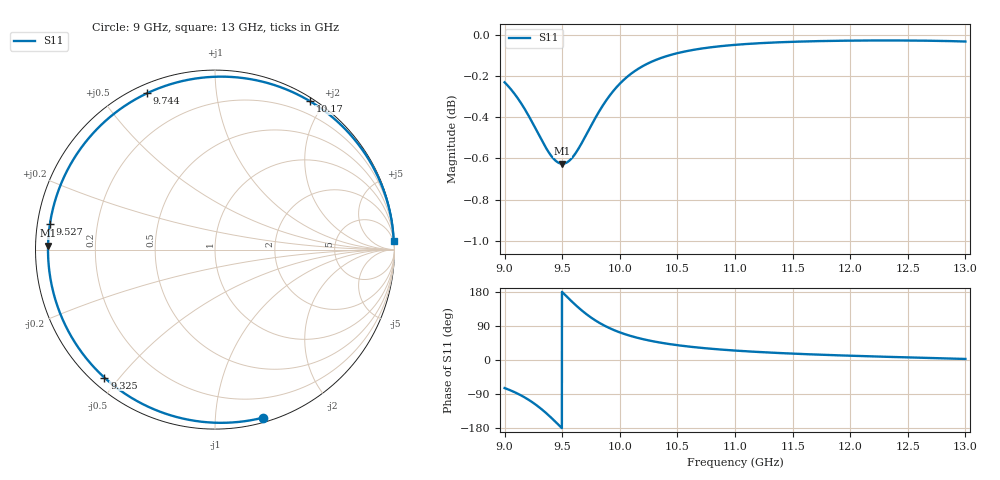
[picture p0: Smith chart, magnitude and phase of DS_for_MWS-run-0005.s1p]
! TOUCHSTONE file generated by CST DESIGN STUDIO
! Date and time: Tue Feb  4 12:53:52 2025
! Project name: C:\Work\MatlabApps\UnitCellOptimizationMatlab\CST\unitcell.cst
! Tree item: Tasks\Sweep1\SPara1\S-Parameters
! Header version: 2024
! Port assignment regex: !\s*Touchstone port\s*([0-9]+)\s*=\s*(CST MWS port|CST DES external port|CST DES block port)\s*(.+)\s* \(\"(.*)\"\)(\s*mode\s*([0-9]+))?.*
! Touchstone port assignment:
! Touchstone port 1 = CST DES external port 1 ("")
# GHz S MA R 50
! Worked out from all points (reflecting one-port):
!   4001 points, 9 GHz to 13 GHz, reference 50 ohm
!   lowest |S11| = -0.6 dB at 9.502 GHz (marker M1), VSWR 27.76, Z = 1.8 + j0.574 ohm
!   phase of S11 starts at -74 deg and turns -283 deg over the sweep
!   S11 on the Smith chart (normalised r, x): 9 GHz: 0.04, -1.33; 9.325 GHz: 0.04, -0.46; 9.527 GHz: 0.04, +0.08; 9.744 GHz: 0.04, +0.66; 10.17 GHz: 0.04, +1.83; 13 GHz: 3, +41
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9  0.9739 -74.0
9.086  0.9676 -84.8
9.188  0.958 -101.2
9.259  0.9501 -115.4
9.325  0.9424 -130.8
9.372  0.9375 -143.2
9.421  0.9334 -157.0
9.461  0.9312 -168.9
9.5  0.9305 179.3
9.502  0.9305 178.7
9.527  0.9307 171.1
9.58  0.9331 155.3
9.64  0.9382 138.5
9.691  0.9437 125.5
9.744  0.9497 113.4
9.796  0.9555 102.9
9.854  0.9614 92.7
9.926  0.9678 82.0
10  0.9731 72.9
10.168  0.9816 57.4
10.319  0.9863 47.6
10.5  0.9899 39.1
10.722  0.9925 31.6
11  0.9945 24.9
11.5  0.9962 16.8
12  0.9968 11.3
12.5  0.9969 6.9
13  0.9963 2.8
